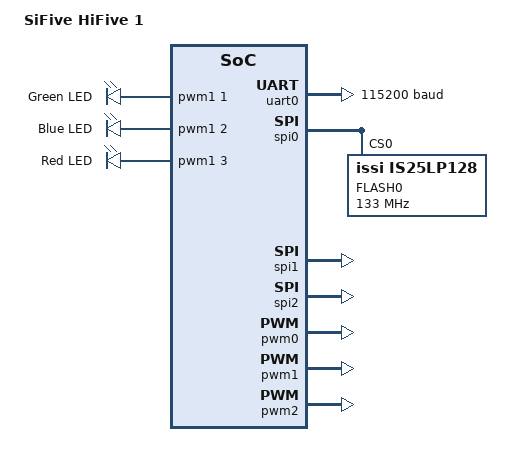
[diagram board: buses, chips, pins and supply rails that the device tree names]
/* Copyright (c) 2018 SiFive, Inc. */
/* SPDX-License-Identifier: Apache-2.0 */

/dts-v1/;

#include <freq.h>
#include <riscv32-fe310.dtsi>

/ {
	model = "SiFive HiFive 1";
	compatible = "sifive,hifive1";
	aliases {
		pwm-led0 = &led0;
		pwm-led1 = &led1;
		pwm-led2 = &led2;
	};

	chosen {
		zephyr,console = &uart0;
		zephyr,shell-uart = &uart0;
		zephyr,sram = &dtim;
		zephyr,flash = &flash0;
	};

	leds {
		compatible = "pwm-leds";
		led0: led_0 {
			pwms = <&pwm1 1 0>;
			label = "Green LED";
		};
		led1: led_1 {
			pwms = <&pwm1 2 0>;
			label = "Blue LED";
		};
		led2: led_2 {
			pwms = <&pwm1 3 0>;
			label = "Red LED";
		};
	};
};

&cpu {
	clock-frequency = <DT_FREQ_M(16)>;
};

&gpio0 {
	status = "okay";
};

&uart0 {
	status = "okay";
	current-speed = <115200>;
};

&spi0 {
	status = "okay";

	reg = <0x10014000 0x1000 0x20400000 0xc00000>;
	flash0: flash@0 {
		compatible = "issi,is25lp128", "jedec,spi-nor";
		size = <134217728>;
		label = "FLASH0";
		jedec-id = [96 60 18];
		reg = <0>;
		spi-max-frequency = <133000000>;
	};
};

&spi1 {
	status = "okay";
};

&spi2 {
	status = "okay";
};

&pwm0 {
	status = "okay";
};

&pwm1 {
	status = "okay";
};

&pwm2 {
	status = "okay";
};
